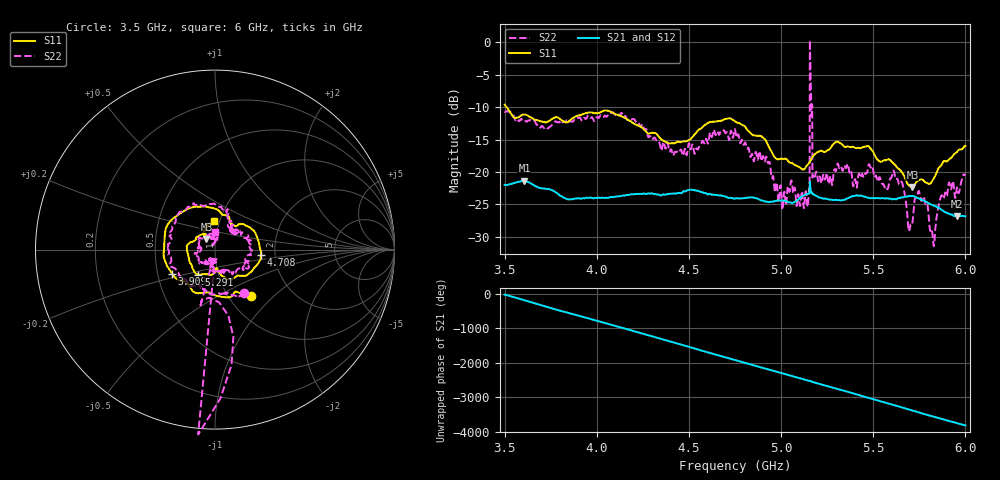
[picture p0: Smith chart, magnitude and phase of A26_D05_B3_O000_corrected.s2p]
! Created with skrf 1.9.0 (http://scikit-rf.org).
# Hz S RI R 50.0
!freq ReS11 ImS11 ReS21 ImS21 ReS12 ImS12 ReS22 ImS22
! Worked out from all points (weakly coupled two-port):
!   1601 points, 3.5 GHz to 6 GHz, reference 50 ohm
!   highest |S21| = -21.37 dB at 3.608 GHz (marker M1); lowest = -26.9 dB at 5.956 GHz (marker M2)
!   lowest |S11| = -22.3 dB at 5.713 GHz (marker M3), VSWR 1.17, Z = 45.1 + j5.43 ohm
!   |S11| at or under -10 dB: 3.511 GHz to end of sweep
!   |S22| runs from -31.5 to 0.3 dB; largest |S21 - S12| = 0.00087
!   S11 on the Smith chart (normalised r, x): 3.5 GHz: 1.26, -0.74; 3.909 GHz: 0.60, -0.17; 4.708 GHz: 1.68, -0.11; 5.291 GHz: 0.80, -0.23; 6 GHz: 0.94, +0.31
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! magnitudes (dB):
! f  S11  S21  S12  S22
! 3.5 GHz  -9.6  -22.0  -22.0  -10.7
! 3.608 GHz  -11.1  -21.4  -21.4  -12.0
! 3.909 GHz  -11.2  -24.1  -24.1  -11.6
! 3.917 GHz  -11.2  -24.1  -24.1  -12.0
! 4.141 GHz  -11.5  -23.7  -23.6  -11.2
! 4.334 GHz  -14.5  -23.5  -23.4  -15.4
! 4.708 GHz  -11.8  -24.0  -23.9  -13.9
! 4.75 GHz  -12.2  -24.1  -24.0  -13.5
! 5.094 GHz  -19.2  -24.2  -24.2  -23.5
! 5.142 GHz  -18.9  -23.4  -23.4  -25.2
! 5.156 GHz  -18.4  -21.5  -21.5  0.3
! 5.167 GHz  -17.8  -23.2  -23.1  -10.7
! 5.183 GHz  -17.3  -23.6  -23.5  -20.7
! 5.291 GHz  -15.5  -24.3  -24.3  -19.6
! 5.584 GHz  -18.0  -24.1  -24.1  -22.0
! 5.655 GHz  -20.0  -23.9  -23.9  -21.6
! 5.713 GHz  -22.3  -23.7  -23.7  -27.9
! 5.756 GHz  -21.2  -24.2  -24.2  -23.9
! 5.823 GHz  -21.2  -25.1  -25.1  -30.3
! 5.866 GHz  -19.1  -25.7  -25.7  -24.0
! 5.956 GHz  -16.9  -26.9  -26.8  -22.5
! 6 GHz  -16.0  -26.9  -26.8  -20.3
